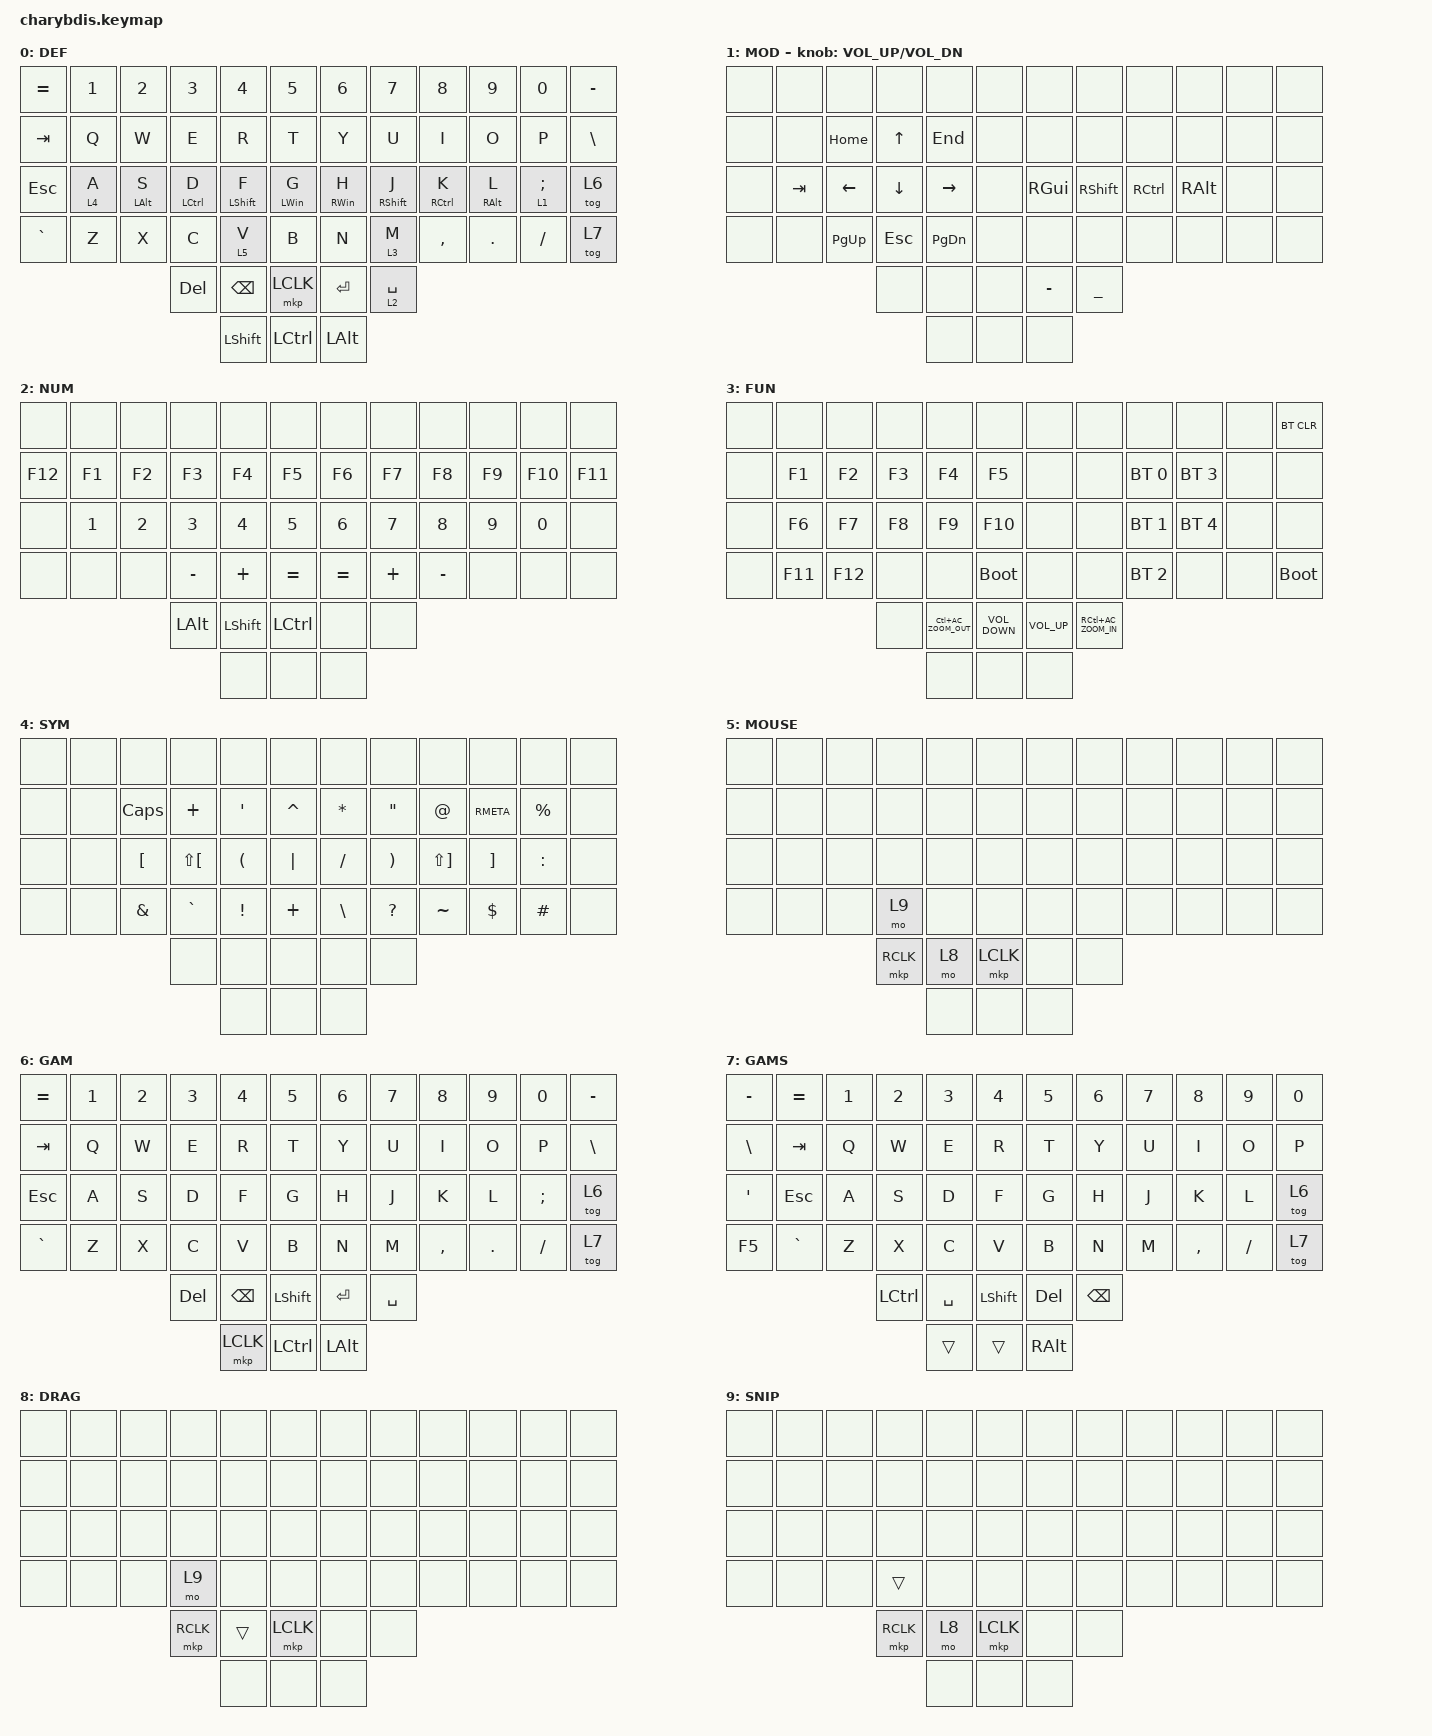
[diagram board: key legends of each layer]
#include <behaviors.dtsi>
#include <dt-bindings/zmk/bt.h>
#include <dt-bindings/zmk/keys.h>
#include <dt-bindings/zmk/mouse.h>
#include <dt-bindings/zmk/outputs.h>
#include <behaviors/mouse_keys.dtsi>
#include <dt-bindings/zmk/ext_power.h>
#include "macros.dtsi"

// / {
//     chosen { zmk,matrix_transform = &default_transform; };
// };

/ {
    /* input config for mouse move mode */

    trackball_listener {
        compatible = "zmk,input-behavior-listener";
        device = <&vtrackball>;
        layers = <0 5 6 7>;
        evt-type = <INPUT_EV_REL>;
        x-input-code = <INPUT_REL_X>;
        y-input-code = <INPUT_REL_Y>;
        scale-multiplier = <1>;
        scale-divisor = <2>;

        // bindings = <&ib_toggle_layer 7>;
    };

    /* input config for snipe mode */

    trackball_snipe_listener {
        compatible = "zmk,input-behavior-listener";
        device = <&vtrackball>;
        layers = <9>;
        evt-type = <INPUT_EV_REL>;
        x-input-code = <INPUT_REL_X>;
        y-input-code = <INPUT_REL_Y>;
        scale-multiplier = <1>;
        scale-divisor = <4>;
    };

    /* input config for mouse scroll mode */

    trackball_scroll_listener {
        compatible = "zmk,input-behavior-listener";
        device = <&vtrackball>;
        layers = <8>;
        evt-type = <INPUT_EV_REL>;
        x-input-code = <INPUT_REL_MISC>;
        y-input-code = <INPUT_REL_WHEEL>;
        y-invert;
        scale-multiplier = <1>;
        scale-divisor = <4>;
        bindings = <&ib_wheel_scaler 1 14>;
    };

    /* define a resolution down scaler only for INPUT_REL_WHEEL */

    ib_wheel_scaler: ib_wheel_scaler {
        compatible = "zmk,input-behavior-scaler";
        #binding-cells = <2>;
        evt-type = <INPUT_EV_REL>;
        input-code = <INPUT_REL_WHEEL>;
    };

    /* adjust cooldown waiting period for mouse key layer after activated */

    ib_toggle_layer: ib_toggle_layer {
        compatible = "zmk,input-behavior-tog-layer";
        #binding-cells = <1>;
        time-to-live-ms = <750>;
    };

    behaviors {
        ht: ht {
            compatible = "zmk,behavior-hold-tap";
            label = "HT";
            bindings = <&kp>, <&kp>;

            #binding-cells = <2>;
            tapping-term-ms = <220>;
            quick-tap-ms = <150>;
            flavor = "tap-preferred";
        }; 
    };

    keymap {
        compatible = "zmk,keymap";

        DEF {
            bindings = <
&kp EQUAL   &kp N1   &kp N2          &kp N3       &kp N4            &kp N5              &kp N6        &kp N7             &kp N8       &kp N9           &kp N0           &kp MINUS
&kp TAB     &kp Q    &kp W           &kp E        &kp R             &kp T               &kp Y         &kp U              &kp I        &kp O            &kp P            &kp BACKSLASH
&kp ESCAPE  &lt 4 A  &ht LEFT_ALT S  &ht LCTRL D  &ht LEFT_SHIFT F  &ht LWIN G          &ht RWIN H    &ht RIGHT_SHIFT J  &ht RCTRL K  &ht RIGHT_ALT L  &lt 1 SEMICOLON  &tog 6
&kp GRAVE   &kp Z    &kp X           &kp C        &lt 5 V           &kp B               &kp N         &lt 3 M            &kp COMMA    &kp DOT          &kp SLASH        &tog 7
                                     &kp DELETE   &kp BACKSPACE     &mkp LCLK            &kp ENTER     &lt 2 SPACE
                                                  &kp LEFT_SHIFT    &kp LEFT_CONTROL    &kp LEFT_ALT
            >;
        };

        MOD {
            bindings = <
&none  &none    &none           &none         &none          &none    &none          &none       &none              &none          &none  &none
&none  &none    &kp HOME        &kp UP_ARROW  &kp END        &none    &none          &none       &none              &none          &none  &none
&none  &kp TAB  &kp LEFT_ARROW  &kp DOWN      &kp RIGHT      &none    &kp RIGHT_GUI  &kp RSHIFT  &kp RIGHT_CONTROL  &kp RIGHT_ALT  &none  &none
&none  &none    &kp PAGE_UP     &kp ESCAPE    &kp PAGE_DOWN  &none    &none          &none       &none              &none          &none  &none
                                &none         &none          &none    &kp MINUS      &kp UNDER
                                              &none          &none    &none
            >;

            sensor-bindings = <&inc_dec_kp C_VOL_UP C_VOL_DN>;
        };

        NUM {
            bindings = <
&none    &none   &none   &none      &none      &none        &none      &none     &none      &none   &none    &none
&kp F12  &kp F1  &kp F2  &kp F3     &kp F4     &kp F5       &kp F6     &kp F7    &kp F8     &kp F9  &kp F10  &kp F11
&none    &kp N1  &kp N2  &kp N3     &kp N4     &kp N5       &kp N6     &kp N7    &kp N8     &kp N9  &kp N0   &none
&none    &none   &none   &kp MINUS  &kp PLUS   &kp EQUAL    &kp EQUAL  &kp PLUS  &kp MINUS  &none   &none    &none
                         &kp LALT   &kp LSHFT  &kp LCTRL    &none      &none
                                    &none      &none        &none
            >;
        };

        FUN {
            bindings = <
&none  &none    &none    &none   &none                  &none                &none            &none                 &none         &none         &none  &bt BT_CLR
&none  &kp F1   &kp F2   &kp F3  &kp F4                 &kp F5               &none            &none                 &bt BT_SEL 0  &bt BT_SEL 3  &none  &none
&none  &kp F6   &kp F7   &kp F8  &kp F9                 &kp F10              &none            &none                 &bt BT_SEL 1  &bt BT_SEL 4  &none  &none
&none  &kp F11  &kp F12  &none   &none                  &bootloader          &none            &none                 &bt BT_SEL 2  &none         &none  &bootloader
                         &none   &kp LC(C_AC_ZOOM_OUT)  &kp C_VOLUME_DOWN    &kp C_VOLUME_UP  &kp RC(C_AC_ZOOM_IN)
                                 &none                  &none                &none
            >;
        };

        SYM {
            bindings = <
&none  &none  &none             &none                 &none                 &none        &none          &none                  &none                  &none              &none        &none
&none  &none  &kp CAPS          &kp PLUS              &kp SQT               &kp CARET    &kp ASTRK      &kp DOUBLE_QUOTES      &kp AT                 &kp RMETA          &kp PERCENT  &none
&none  &none  &kp LEFT_BRACKET  &kp LS(LEFT_BRACKET)  &kp LEFT_PARENTHESIS  &kp PIPE     &kp SLASH      &kp RIGHT_PARENTHESIS  &kp LS(RIGHT_BRACKET)  &kp RIGHT_BRACKET  &kp COLON    &none
&none  &none  &kp AMPERSAND     &kp GRAVE             &kp EXCLAMATION       &kp PLUS     &kp BACKSLASH  &kp QUESTION           &kp TILDE              &kp DOLLAR         &kp HASH     &none
                                &none                 &none                 &none        &none          &none
                                                      &none                 &none        &none
            >;
        };


MOUSE {
            bindings = <
&none  &none  &none  &none      &none      &none        &none  &none  &none  &none  &none  &none
&none  &none  &none  &none      &none      &none        &none  &none  &none  &none  &none  &none
&none  &none  &none  &none      &none      &none        &none  &none  &none  &none  &none  &none
&none  &none  &none  &mo 9      &none      &none        &none  &none  &none  &none  &none  &none
                     &mkp RCLK  &mo 8      &mkp LCLK    &none  &none
                                &none      &none        &none
            >;

        };

        GAM {
            bindings = <
&kp EQUAL  &kp N1  &kp N2  &kp N3      &kp N4          &kp N5           &kp N6        &kp N7     &kp N8     &kp N9   &kp N0     &kp MINUS
&kp TAB    &kp Q   &kp W   &kp E       &kp R           &kp T            &kp Y         &kp U      &kp I      &kp O    &kp P      &kp BSLH
&kp ESC    &kp A   &kp S   &kp D       &kp F           &kp G            &kp H         &kp J      &kp K      &kp L    &kp SEMI   &tog 6
&kp GRAVE  &kp Z   &kp X   &kp C       &kp V           &kp B            &kp N         &kp M      &kp COMMA  &kp DOT  &kp SLASH  &tog 7
                           &kp DELETE  &kp BSPC        &kp LEFT_SHIFT   &kp ENTER     &kp SPACE
                                       &mkp LCLK       &kp LCTRL        &kp LEFT_ALT
            >;
        };

        GAMS {
            bindings = <
&kp MINUS  &kp EQUAL  &kp N1  &kp N2     &kp N3     &kp N4            &kp N5         &kp N6         &kp N7  &kp N8     &kp N9     &kp N0
&kp BSLH   &kp TAB    &kp Q   &kp W      &kp E      &kp R             &kp T          &kp Y          &kp U   &kp I      &kp O      &kp P
&kp APOS   &kp ESC    &kp A   &kp S      &kp D      &kp F             &kp G          &kp H          &kp J   &kp K      &kp L      &tog 6
&kp F5     &kp GRAVE  &kp Z   &kp X      &kp C      &kp V             &kp B          &kp N          &kp M   &kp COMMA  &kp SLASH  &tog 7
                              &kp LCTRL  &kp SPACE  &kp LEFT_SHIFT    &kp DELETE     &kp BACKSPACE
                                         &trans     &trans            &kp RIGHT_ALT
            >;
        };

        DRAG {
            bindings = <
&none  &none  &none  &none      &none      &none        &none  &none  &none  &none  &none  &none
&none  &none  &none  &none      &none      &none        &none  &none  &none  &none  &none  &none
&none  &none  &none  &none      &none      &none        &none  &none  &none  &none  &none  &none
&none  &none  &none  &mo 9      &none      &none        &none  &none  &none  &none  &none  &none
                     &mkp RCLK  &trans      &mkp LCLK    &none  &none
                                &none  &none        &none
            >;

        };

        // New sniping layer (layer 9)

        SNIP {
            bindings = <
&none  &none  &none  &none      &none      &none        &none  &none  &none  &none  &none  &none
&none  &none  &none  &none      &none      &none        &none  &none  &none  &none  &none  &none
&none  &none  &none  &none      &none      &none        &none  &none  &none  &none  &none  &none
&none  &none  &none  &trans      &none      &none        &none  &none  &none  &none  &none  &none
                     &mkp RCLK  &mo 8      &mkp LCLK    &none  &none
                                &none  &none        &none
            >;

        };

    };
};

